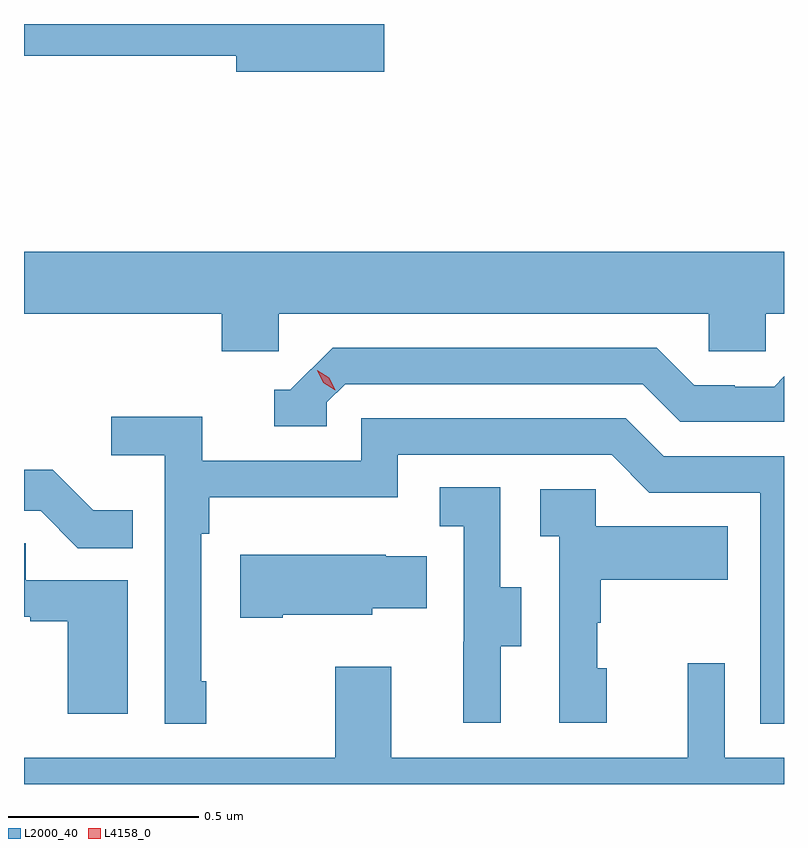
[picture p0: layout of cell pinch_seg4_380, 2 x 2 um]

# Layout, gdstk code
import gdstk
lib = gdstk.Library(unit=1e-6, precision=1e-09)
def P(c, l, *ps):  # polygons
    for p in ps: c.add(gdstk.Polygon(p, *l))
L2000_40 = (2000, 40)
L4158_0 = (4158, 0)

pinch_seg4_380 = lib.new_cell('pinch_seg4_380')
P(pinch_seg4_380, L2000_40, [(939.625,770.943),(938.677,770.943),(938.677,770.86),(939.236,770.86),(939.236,770.818),(939.625,770.818)],
  [(938.677,770.18),(939.197,770.18),(939.197,770.082),(939.348,770.082),(939.348,770.18),(940.479,770.18),(940.479,770.082),(940.629,770.082),(940.629,770.18),(940.677,770.18),(940.677,770.344),(938.677,770.344)],
  [(939.474,769.947),(939.522,769.995),(940.305,769.995),(940.404,769.896),(940.677,769.896),(940.677,770.016),(940.651,769.989),(940.548,769.989),(940.548,769.992),(940.441,769.992),(940.342,770.091),(939.489,770.091),(939.378,769.98),(939.335,769.98),(939.335,769.884),(939.474,769.884)],
  [(939.157,769.213),(939.144,769.213),(939.144,769.601),(939.164,769.601),(939.164,769.697),(939.66,769.697),(939.66,769.809),(940.224,769.809),(940.323,769.71),(940.614,769.71),(940.614,769.101),(940.677,769.101),(940.677,769.806),(940.36,769.806),(940.261,769.905),(939.564,769.905),(939.564,769.794),(939.146,769.794),(939.146,769.91),(938.907,769.91),(938.907,769.808),(939.048,769.808),(939.048,769.101),(939.157,769.101)],
  [(938.963,769.663),(938.859,769.663),(938.752,769.77),(938.677,769.77),(938.677,769.662),(938.721,769.662),(938.819,769.564),(938.963,769.564)],
  [(939.931,769.306),(939.985,769.306),(939.985,769.461),(939.93,769.461),(939.93,769.724),(939.771,769.724),(939.771,769.621),(939.834,769.621),(939.834,769.317),(939.833,769.317),(939.833,769.104),(939.931,769.104)],
  [(940.21,769.248),(940.185,769.248),(940.185,769.367),(940.195,769.367),(940.195,769.481),(940.529,769.481),(940.529,769.621),(940.182,769.621),(940.182,769.719),(940.035,769.719),(940.035,769.595),(940.086,769.595),(940.086,769.104),(940.21,769.104)],
  [(938.95,769.479),(938.681,769.479),(938.681,769.577),(938.677,769.577),(938.677,769.383),(938.693,769.383),(938.693,769.371),(938.792,769.371),(938.792,769.128),(938.95,769.128)],
  [(939.358,769.388),(939.594,769.388),(939.594,769.406),(939.737,769.406),(939.737,769.543),(939.629,769.543),(939.629,769.546),(939.246,769.546),(939.246,769.381),(939.358,769.381)],
  [(940.677,769.012),(940.521,769.012),(940.521,769.261),(940.424,769.261),(940.424,769.012),(939.643,769.012),(939.643,769.252),(939.496,769.252),(939.496,769.012),(938.677,769.012),(938.677,768.943),(940.677,768.943)])
P(pinch_seg4_380, L4158_0, [(939.496,769.979),(939.465,769.999),(939.449,770.031),(939.449,770.032),(939.449,770.032),(939.48,770.012),(939.496,769.98),(939.496,769.979)])

lib.write_gds('pinch_seg4_380.gds')
